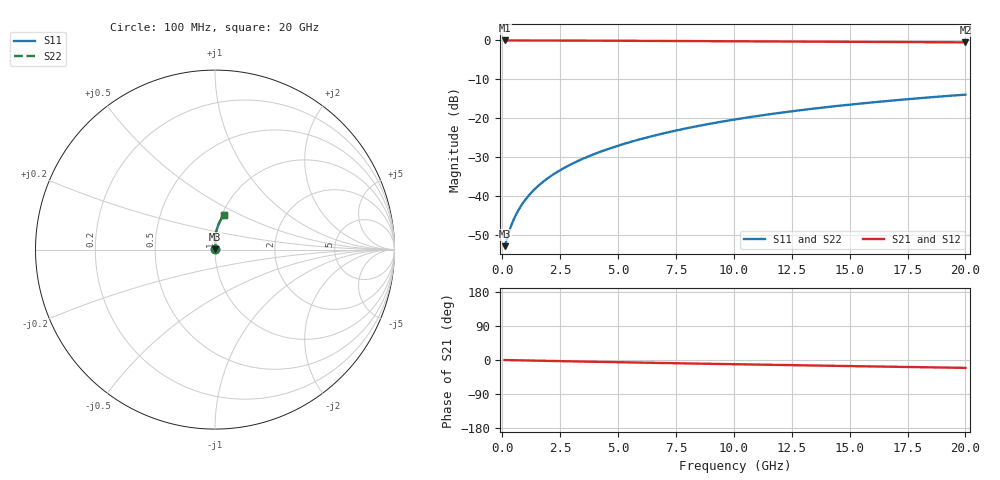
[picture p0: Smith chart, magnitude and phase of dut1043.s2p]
! Touchstone file exported from HFSS 2024.1.0
!  File:  C:/UserFiles/LocalFiles/RDL_TSV_Batchsim/temp_RDL_top_1043_1780044170.aedt
!  Generated:  04:45:30 PM May 29, 2026
!  Design:  RDL_top
!  Project:  temp_RDL_top_1043_1780044170
!  Setup:  Setup1
!  Solution:  Sweep
! Variables:
!  dtsv = 10.80580581um
!  hbump = 3um
!  htsv = 81.61um
!  ldown = 100um
!  lrdl = 282.14um
!  p = 40
!  p1 = 44.24um
!  rhole = 1um
!  t = 450um
!  tdown = 3.915915916um
!  trdl = 2.48um
!  wdown = 15.38538539um
!  wrdl = 23.65um
# GHz S MA R 50.000000
! Terminal data exported
! Port[1] = Box2_T1
! Port[2] = Box2_T2
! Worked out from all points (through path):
!   200 points, 100 MHz to 20 GHz, reference 50 ohm
!   highest |S21| = -0.02 dB at 100 MHz (marker M1); lowest = -0.5 dB at 20 GHz (marker M2)
!   group delay of S21, straight-line fit = 2.86 ps
!   lowest |S11| = -53.0 dB at 100 MHz (marker M3), VSWR 1.00, Z = 50.2 + j0.0965 ohm
!   |S11| at or under -10 dB: start of sweep to end of sweep
!   |S22| runs from -53.0 to -14.0 dB; largest |S21 - S12| = 6.2e-15
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0.1  0.00225 25.3  0.998 -0.1  0.998 -0.1  0.00225 25.3
! Gamma 0 0 0 0
! Port Impedance 50 0 50 0
0.3  0.003525 51.8  0.9978 -0.4  0.9978 -0.4  0.003526 51.8
0.4  0.004266 58.2  0.9977 -0.5  0.9977 -0.5  0.004267 58.2
0.6  0.005792 66.2  0.9974 -0.7  0.9974 -0.7  0.005793 66.2
0.7  0.00657 68.9  0.9973 -0.9  0.9973 -0.9  0.00657 68.9
0.9  0.008148 72.9  0.9971 -1.1  0.9971 -1.1  0.008148 72.9
1.2  0.01056 76.8  0.9968 -1.5  0.9968 -1.5  0.01055 76.8
1.4  0.01218 78.7  0.9966 -1.7  0.9966 -1.7  0.01218 78.7
1.7  0.01465 80.8  0.9963 -2.0  0.9963 -2.0  0.01465 80.8
2.2  0.01883 83.2  0.9955 -2.6  0.9955 -2.6  0.01883 83.2
2.8  0.02398 85.2  0.9945 -3.3  0.9945 -3.3  0.02397 85.2
3.5  0.03017 86.6  0.9931 -4.2  0.9931 -4.2  0.03017 86.6
4.2  0.03657 87.6  0.9915 -5.0  0.9915 -5.0  0.03657 87.6
5  0.04414 88.2  0.9894 -5.8  0.9894 -5.8  0.04413 88.2
5.9  0.05293 88.4  0.9868 -6.8  0.9868 -6.8  0.05293 88.4
6.8  0.06199 88.3  0.9842 -7.8  0.9842 -7.8  0.06199 88.3
8.4  0.07859 87.6  0.9792 -9.5  0.9792 -9.5  0.07858 87.6
10.1  0.09664 86.2  0.9738 -11.2  0.9738 -11.2  0.09663 86.2
11.7  0.1138 84.7  0.9688 -12.8  0.9688 -12.8  0.1138 84.7
13.4  0.132 82.9  0.9635 -14.5  0.9635 -14.5  0.132 82.9
16.7  0.1668 79.3  0.9533 -17.7  0.9533 -17.7  0.1668 79.3
20  0.2005 75.7  0.9431 -20.8  0.9431 -20.8  0.2005 75.7
